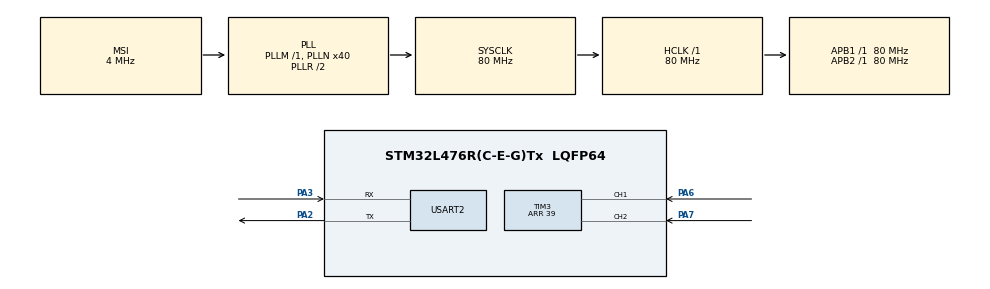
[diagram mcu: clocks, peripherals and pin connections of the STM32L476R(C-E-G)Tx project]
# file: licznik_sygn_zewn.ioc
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Mcu.Family=STM32L4
Mcu.Name=STM32L476R(C-E-G)Tx
Mcu.Package=LQFP64
NVIC.PriorityGroup=NVIC_PRIORITYGROUP_4
PA13\ (JTMS-SWDIO).Mode=Serial_Wire
PA13\ (JTMS-SWDIO).Signal=SYS_JTMS-SWDIO
PA14\ (JTCK-SWCLK).Mode=Serial_Wire
PA14\ (JTCK-SWCLK).Signal=SYS_JTCK-SWCLK
PA2.Mode=Asynchronous
PA2.Signal=USART2_TX
PA3.Mode=Asynchronous
PA3.Signal=USART2_RX
PA6.Signal=S_TIM3_CH1
PA7.Signal=S_TIM3_CH2
ProjectManager.HeapSize=0x200
ProjectManager.StackSize=0x400
ProjectManager.TargetToolchain=STM32CubeIDE
RCC.AHBFreq_Value=80000000
RCC.APB1Freq_Value=80000000
RCC.APB1TimFreq_Value=80000000
RCC.APB2Freq_Value=80000000
RCC.APB2TimFreq_Value=80000000
RCC.CortexFreq_Value=80000000
RCC.HCLKFreq_Value=80000000
RCC.HSE_VALUE=8000000
RCC.HSI_VALUE=16000000
RCC.LSE_VALUE=32768
RCC.MSI_VALUE=4000000
RCC.PLLN=40
RCC.SYSCLKFreq_VALUE=80000000
RCC.SYSCLKSource=RCC_SYSCLKSOURCE_PLLCLK
RCC.VCOOutputFreq_Value=160000000
SH.S_TIM3_CH1.0=TIM3_CH1,Encoder_Interface
SH.S_TIM3_CH2.0=TIM3_CH2,Encoder_Interface
TIM3.Period=39
USART2.VirtualMode-Asynchronous=VM_ASYNC
board=custom

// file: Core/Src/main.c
/* USER CODE BEGIN Header */
/**
  ******************************************************************************
  * @file           : main.c
  * @brief          : Main program body
  ******************************************************************************
  * @attention
  *
  * Copyright (c) 2024 STMicroelectronics.
  * All rights reserved.
  *
  * This software is licensed under terms that can be found in the LICENSE file
  * in the root directory of this software component.
  * If no LICENSE file comes with this software, it is provided AS-IS.
  *
  ******************************************************************************
  */
/* USER CODE END Header */
#include "main.h"

/* USER CODE BEGIN Includes */
#include <stdio.h>

/* USER CODE END Includes */

TIM_HandleTypeDef htim3;

UART_HandleTypeDef huart2;

void SystemClock_Config(void);
static void MX_GPIO_Init(void);
static void MX_USART2_UART_Init(void);
static void MX_TIM3_Init(void);

/* USER CODE BEGIN 0 */
int __io_putchar(int ch)
{
  if (ch == '\n') {
    __io_putchar('\r');
  }

  HAL_UART_Transmit(&huart2, (uint8_t*)&ch, 1, HAL_MAX_DELAY);

  return 1;
}
//po pomiarze stanu niskiego na pinie PA6 będzie wywołane przerwanie
volatile uint32_t captured_value;

void HAL_TIM_IC_CaptureCallback(TIM_HandleTypeDef *htim)
{
  if (htim == &htim3) {
    switch (HAL_TIM_GetActiveChannel(&htim3)) {
      case HAL_TIM_ACTIVE_CHANNEL_1:
        captured_value = HAL_TIM_ReadCapturedValue(htim, TIM_CHANNEL_1);
        break;
      default:
        break;
    }
  }
}

/* USER CODE END 0 */

int main(void)
{

  /* MCU Configuration--------------------------------------------------------*/

  /* Reset of all peripherals, Initializes the Flash interface and the Systick. */
  HAL_Init();

  /* Configure the system clock */
  SystemClock_Config();

  /* Initialize all configured peripherals */
  MX_GPIO_Init();
  MX_USART2_UART_Init();
  MX_TIM3_Init();

  /* Infinite loop */
  /* USER CODE BEGIN WHILE */
  // działanie licznika zewnętrznego
  /*
  HAL_TIM_Base_Start(&htim3);
  uint32_t old_value = 0;

  while (1)
  {
    uint32_t value = __HAL_TIM_GET_COUNTER(&htim3);

    if (old_value != value) {
      old_value = value;
      printf("value = %lu\n", value);
    }*/
  //działanie czasomierza stanu sygnału na wejściu
  /*
   //
  HAL_TIM_Base_Start(&htim3);
  HAL_TIM_IC_Start_IT(&htim3, TIM_CHANNEL_1);

  while (1)
  {
    if (captured_value != 0) {
      printf("value = %lu\n", captured_value);
      captured_value = 0;
    }*/
//wykorzystanie trybu encodera dla TIM3
  HAL_TIM_Encoder_Start(&htim3, TIM_CHANNEL_ALL);
  int16_t prev_value = 0;

  while (1)
  {
    int16_t value = __HAL_TIM_GET_COUNTER(&htim3);
    if (value != prev_value) {
      printf("value = %d\n", value);
      prev_value = value;
    }
    /* USER CODE END WHILE */

  }
}

void SystemClock_Config(void)
{
  RCC_OscInitTypeDef RCC_OscInitStruct = {0};
  RCC_ClkInitTypeDef RCC_ClkInitStruct = {0};

  /** Configure the main internal regulator output voltage
  */
  if (HAL_PWREx_ControlVoltageScaling(PWR_REGULATOR_VOLTAGE_SCALE1) != HAL_OK)
  {
    Error_Handler();
  }

  /** Initializes the RCC Oscillators according to the specified parameters
  * in the RCC_OscInitTypeDef structure.
  */
  RCC_OscInitStruct.OscillatorType = RCC_OSCILLATORTYPE_MSI;
  RCC_OscInitStruct.MSIState = RCC_MSI_ON;
  RCC_OscInitStruct.MSICalibrationValue = 0;
  RCC_OscInitStruct.MSIClockRange = RCC_MSIRANGE_6;
  RCC_OscInitStruct.PLL.PLLState = RCC_PLL_ON;
  RCC_OscInitStruct.PLL.PLLSource = RCC_PLLSOURCE_MSI;
  RCC_OscInitStruct.PLL.PLLM = 1;
  RCC_OscInitStruct.PLL.PLLN = 40;
  RCC_OscInitStruct.PLL.PLLP = RCC_PLLP_DIV7;
  RCC_OscInitStruct.PLL.PLLQ = RCC_PLLQ_DIV2;
  RCC_OscInitStruct.PLL.PLLR = RCC_PLLR_DIV2;
  if (HAL_RCC_OscConfig(&RCC_OscInitStruct) != HAL_OK)
  {
    Error_Handler();
  }

  /** Initializes the CPU, AHB and APB buses clocks
  */
  RCC_ClkInitStruct.ClockType = RCC_CLOCKTYPE_HCLK|RCC_CLOCKTYPE_SYSCLK
                              |RCC_CLOCKTYPE_PCLK1|RCC_CLOCKTYPE_PCLK2;
  RCC_ClkInitStruct.SYSCLKSource = RCC_SYSCLKSOURCE_PLLCLK;
  RCC_ClkInitStruct.AHBCLKDivider = RCC_SYSCLK_DIV1;
  RCC_ClkInitStruct.APB1CLKDivider = RCC_HCLK_DIV1;
  RCC_ClkInitStruct.APB2CLKDivider = RCC_HCLK_DIV1;

  if (HAL_RCC_ClockConfig(&RCC_ClkInitStruct, FLASH_LATENCY_4) != HAL_OK)
  {
    Error_Handler();
  }
}

static void MX_TIM3_Init(void)
{

  TIM_Encoder_InitTypeDef sConfig = {0};
  TIM_MasterConfigTypeDef sMasterConfig = {0};

  htim3.Instance = TIM3;
  htim3.Init.Prescaler = 0;
  htim3.Init.CounterMode = TIM_COUNTERMODE_UP;
  htim3.Init.Period = 39;
  htim3.Init.ClockDivision = TIM_CLOCKDIVISION_DIV1;
  htim3.Init.AutoReloadPreload = TIM_AUTORELOAD_PRELOAD_DISABLE;
  sConfig.EncoderMode = TIM_ENCODERMODE_TI1;
  sConfig.IC1Polarity = TIM_ICPOLARITY_RISING;
  sConfig.IC1Selection = TIM_ICSELECTION_DIRECTTI;
  sConfig.IC1Prescaler = TIM_ICPSC_DIV1;
  sConfig.IC1Filter = 0;
  sConfig.IC2Polarity = TIM_ICPOLARITY_RISING;
  sConfig.IC2Selection = TIM_ICSELECTION_DIRECTTI;
  sConfig.IC2Prescaler = TIM_ICPSC_DIV1;
  sConfig.IC2Filter = 0;
  if (HAL_TIM_Encoder_Init(&htim3, &sConfig) != HAL_OK)
  {
    Error_Handler();
  }
  sMasterConfig.MasterOutputTrigger = TIM_TRGO_RESET;
  sMasterConfig.MasterSlaveMode = TIM_MASTERSLAVEMODE_DISABLE;
  if (HAL_TIMEx_MasterConfigSynchronization(&htim3, &sMasterConfig) != HAL_OK)
  {
    Error_Handler();
  }

}

static void MX_USART2_UART_Init(void)
{

  huart2.Instance = USART2;
  huart2.Init.BaudRate = 115200;
  huart2.Init.WordLength = UART_WORDLENGTH_8B;
  huart2.Init.StopBits = UART_STOPBITS_1;
  huart2.Init.Parity = UART_PARITY_NONE;
  huart2.Init.Mode = UART_MODE_TX_RX;
  huart2.Init.HwFlowCtl = UART_HWCONTROL_NONE;
  huart2.Init.OverSampling = UART_OVERSAMPLING_16;
  huart2.Init.OneBitSampling = UART_ONE_BIT_SAMPLE_DISABLE;
  huart2.AdvancedInit.AdvFeatureInit = UART_ADVFEATURE_NO_INIT;
  if (HAL_UART_Init(&huart2) != HAL_OK)
  {
    Error_Handler();
  }

}

static void MX_GPIO_Init(void)
{

  /* GPIO Ports Clock Enable */
  __HAL_RCC_GPIOA_CLK_ENABLE();

}

void Error_Handler(void)
{
  __disable_irq();
  while (1)
  {
  }
}
